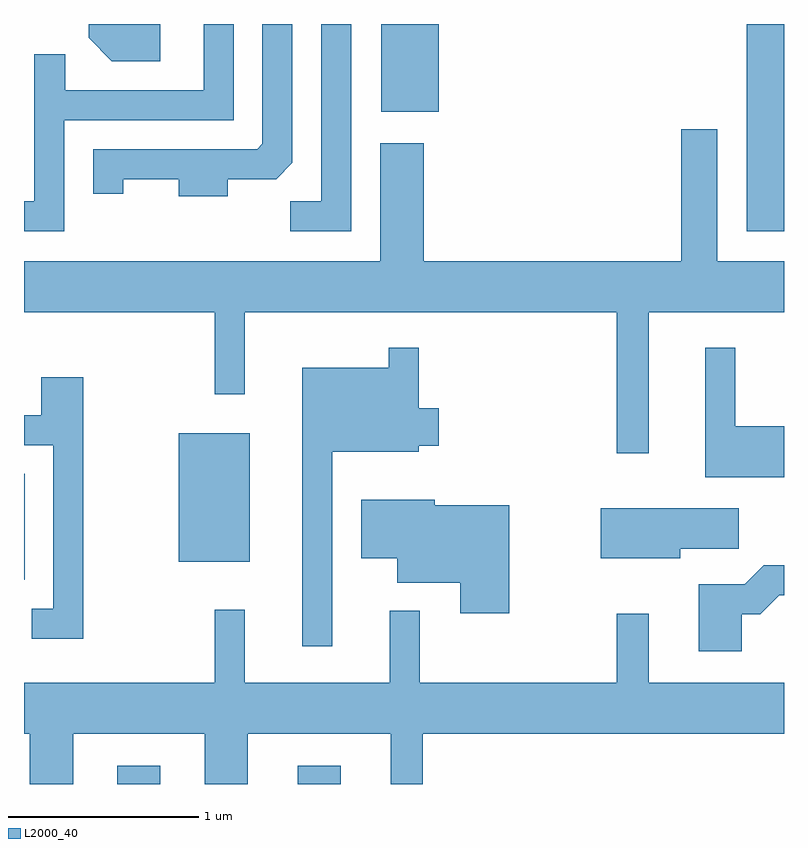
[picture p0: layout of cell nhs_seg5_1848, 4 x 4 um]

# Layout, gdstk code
import gdstk
lib = gdstk.Library(unit=1e-6, precision=1e-09)
def R(c, l, rs):  # rectangles x0, y0, x1, y1
    for r in rs: c.add(gdstk.rectangle(r[:2], r[2:], *l))
def P(c, l, *ps):  # polygons
    for p in ps: c.add(gdstk.Polygon(p, *l))
L2000_40 = (2000, 40)

nhs_seg5_1848 = lib.new_cell('nhs_seg5_1848')
R(nhs_seg5_1848, L2000_40, [(240.101,1472.072,240.329,1472.169), (241.051,1472.072,241.279,1472.169), (239.611,1473.146,239.614,1473.704), (240.426,1473.241,240.799,1473.919), (243.416,1474.981,243.611,1476.072), (241.491,1475.611,241.794,1476.072)])
P(nhs_seg5_1848, L2000_40, [(241.334,1476.072),(241.176,1476.072),(241.176,1475.139),(241.013,1475.139),(241.013,1474.981),(241.334,1474.981)],
  [(240.684,1475.256),(240.939,1475.256),(241.024,1475.342),(241.024,1476.072),(240.866,1476.072),(240.866,1475.442),(240.839,1475.414),(239.976,1475.414),(239.976,1475.178),(240.134,1475.178),(240.134,1475.256),(240.426,1475.256),(240.426,1475.166),(240.684,1475.166)],
  [(240.329,1476.072),(239.951,1476.072),(239.951,1475.999),(240.074,1475.876),(240.329,1475.876)],
  [(239.824,1475.566),(240.714,1475.566),(240.714,1476.072),(240.556,1476.072),(240.556,1475.724),(239.829,1475.724),(239.829,1475.913),(239.666,1475.913),(239.666,1475.139),(239.611,1475.139),(239.611,1474.981),(239.824,1474.981)],
  [(242.899,1474.556),(243.611,1474.556),(243.611,1474.824),(243.259,1474.824),(243.259,1475.519),(243.071,1475.519),(243.071,1474.824),(241.714,1474.824),(241.714,1475.444),(241.486,1475.444),(241.486,1474.824),(239.611,1474.824),(239.611,1474.556),(240.616,1474.556),(240.616,1474.123),(240.774,1474.123),(240.774,1474.556),(242.731,1474.556),(242.731,1473.813),(242.899,1473.813)],
  [(243.611,1473.954),(243.354,1473.954),(243.354,1474.368),(243.196,1474.368),(243.196,1473.686),(243.611,1473.686)],
  [(241.234,1473.821),(241.689,1473.821),(241.689,1473.851),(241.794,1473.851),(241.794,1474.049),(241.689,1474.049),(241.689,1474.368),(241.531,1474.368),(241.531,1474.264),(241.076,1474.264),(241.076,1472.798),(241.234,1472.798)],
  [(239.924,1474.214),(239.701,1474.214),(239.701,1474.014),(239.611,1474.014),(239.611,1473.856),(239.766,1473.856),(239.766,1472.994),(239.653,1472.994),(239.653,1472.836),(239.924,1472.836)],
  [(242.164,1473.539),(241.774,1473.539),(241.774,1473.569),(241.386,1473.569),(241.386,1473.261),(241.576,1473.261),(241.576,1473.131),(241.906,1473.131),(241.906,1472.971),(242.164,1472.971)],
  [(243.064,1473.311),(243.374,1473.311),(243.374,1473.524),(242.646,1473.524),(242.646,1473.261),(243.064,1473.261)],
  [(243.389,1472.966),(243.487,1472.966),(243.587,1473.066),(243.611,1473.066),(243.611,1473.224),(243.504,1473.224),(243.404,1473.124),(243.161,1473.124),(243.161,1472.771),(243.389,1472.771)],
  [(239.869,1472.336),(240.561,1472.336),(240.561,1472.072),(240.789,1472.072),(240.789,1472.336),(241.541,1472.336),(241.541,1472.072),(241.709,1472.072),(241.709,1472.336),(243.611,1472.336),(243.611,1472.604),(242.899,1472.604),(242.899,1472.968),(242.731,1472.968),(242.731,1472.604),(241.694,1472.604),(241.694,1472.983),(241.536,1472.983),(241.536,1472.604),(240.774,1472.604),(240.774,1472.988),(240.616,1472.988),(240.616,1472.604),(239.611,1472.604),(239.611,1472.336),(239.641,1472.336),(239.641,1472.072),(239.869,1472.072)])

lib.write_gds('nhs_seg5_1848.gds')
